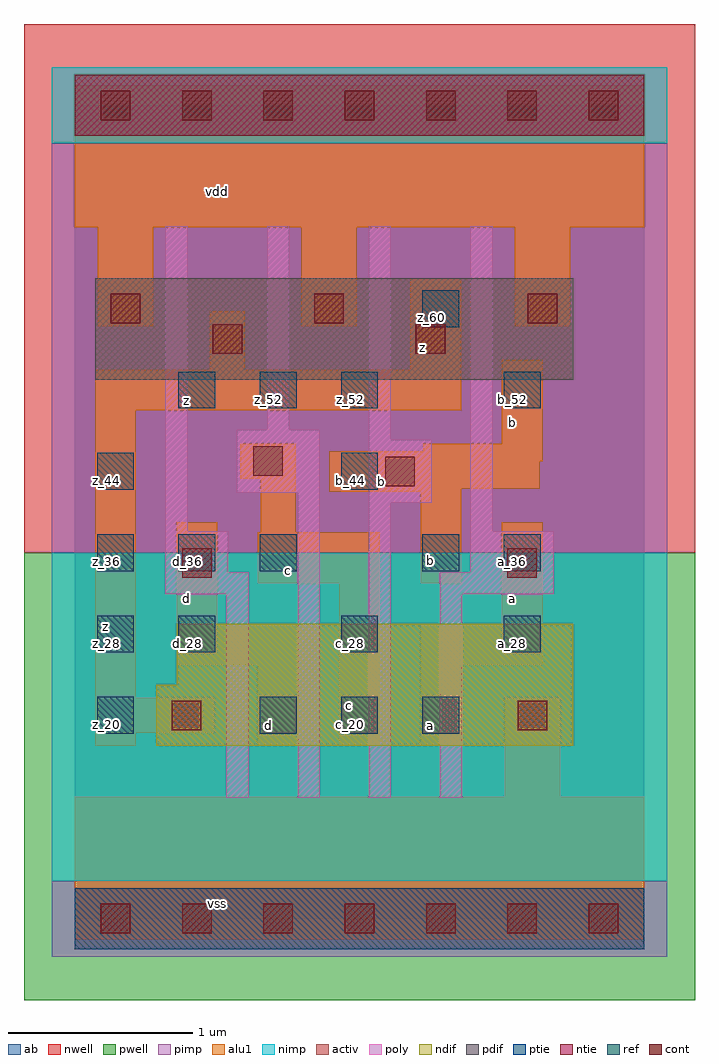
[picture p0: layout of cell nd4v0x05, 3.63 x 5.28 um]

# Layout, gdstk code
import gdstk
lib = gdstk.Library(unit=1e-6, precision=2.5e-09)
def R(c, l, rs):  # rectangles x0, y0, x1, y1
    for r in rs: c.add(gdstk.rectangle(r[:2], r[2:], *l))
def A(c, l, x, y, w, h, nx, ny, dx, dy):  # array of equal rectangles
    R(c, l, [(x+i*dx, y+j*dy, x+i*dx+w, y+j*dy+h) for i in range(nx) for j in range(ny)])
ndif = (3, 0)
pdif = (4, 0)
ntie = (5, 0)
ptie = (6, 0)
ref = (24, 0)
cont = (25, 0)
pwell = (41, 0)
nwell = (42, 0)
activ = (43, 0)
pimp = (44, 0)
nimp = (45, 0)
poly = (46, 0)
alu1 = (49, 0)
ab = (63, 0)

nd4v0x05 = lib.new_cell('nd4v0x05')
R(nd4v0x05, ndif, [(0.44,0.935,2.695,1.265), (0.55,1.265,2.695,1.595)])
R(nd4v0x05, pdif, [(0.11,2.915,2.695,3.465)])
R(nd4v0x05, ntie, [(0,4.235,3.08,4.565)])
R(nd4v0x05, ptie, [(0,-0.165,3.08,0.165)])
A(nd4v0x05, ref, 1, 1, 0.2, 0.2, 3, 1, 0.44, 0)
A(nd4v0x05, ref, 0.56, 1.44, 0.2, 0.2, 3, 1, 0.88, 0)
A(nd4v0x05, ref, 0.12, 1.88, 0.2, 0.2, 3, 1, 0.44, 0)
A(nd4v0x05, ref, 0.56, 2.76, 0.2, 0.2, 3, 1, 0.44, 0)
R(nd4v0x05, ref, [(0.12,1,0.32,1.2), (0.12,1.44,0.32,1.64), (1.88,1.88,2.08,2.08), (2.32,1.88,2.52,2.08), (0.12,2.32,0.32,2.52), (1.44,2.32,1.64,2.52), (2.32,2.76,2.52,2.96), (1.88,3.2,2.08,3.4)])
A(nd4v0x05, cont, 0.14, -0.08, 0.16, 0.16, 7, 2, 0.44, 4.4)
R(nd4v0x05, cont, [(0.525,1.02,0.685,1.18), (2.395,1.02,2.555,1.18), (0.58,1.845,0.74,2.005), (2.34,1.845,2.5,2.005), (1.68,2.34,1.84,2.5), (0.965,2.395,1.125,2.555), (0.745,3.055,0.905,3.215), (1.845,3.055,2.005,3.215), (0.195,3.22,0.355,3.38), (1.295,3.22,1.455,3.38), (2.45,3.22,2.61,3.38)])
R(nd4v0x05, pwell, [(-0.275,-0.44,3.355,1.98)])
R(nd4v0x05, nwell, [(-0.275,1.98,3.355,4.84)])
R(nd4v0x05, activ, [(0,-0.165,3.08,0.165), (0.44,0.935,2.695,1.265), (0.55,1.265,2.695,1.595), (0.11,2.915,2.695,3.465), (0,4.235,3.08,4.565)])
R(nd4v0x05, pimp, [(-0.125,-0.205,3.205,0.205), (-0.125,1.98,3.205,4.195)])
R(nd4v0x05, nimp, [(-0.125,0.205,3.205,1.98), (-0.125,4.195,3.205,4.605)])
R(nd4v0x05, poly, [(0.82,0.655,0.94,1.755), (1.205,0.655,1.325,2.305), (1.59,0.655,1.71,2.25), (1.975,0.655,2.095,1.755), (0.49,1.755,0.94,1.875), (1.975,1.755,2.59,1.875), (0.49,1.875,0.83,2.095), (2.14,1.875,2.59,2.095), (0.49,2.095,0.61,3.745), (2.14,2.095,2.26,3.745), (1.59,2.25,1.93,2.59), (0.875,2.305,1.325,2.645), (1.59,2.59,1.71,3.745), (1.04,2.645,1.16,3.745)])
R(nd4v0x05, alu1, [(0,-0.11,3.08,0.66), (2.325,0.66,2.625,1.195), (0.11,0.935,0.33,1.005), (0.99,0.935,1.21,1.375), (1.43,0.935,1.65,1.815), (1.87,0.935,2.09,1.375), (0.11,1.005,0.755,1.195), (0.11,1.195,0.33,2.75), (0.55,1.375,1.21,1.595), (1.87,1.375,2.53,1.595), (0.55,1.595,0.77,2.145), (2.31,1.595,2.53,2.145), (0.99,1.815,1.65,2.09), (1.87,1.815,2.09,2.31), (1.005,2.09,1.195,2.38), (1.375,2.31,2.09,2.325), (1.375,2.325,2.515,2.475), (0.895,2.38,1.195,2.57), (1.375,2.475,2.53,2.53), (1.885,2.53,2.53,2.57), (2.31,2.57,2.53,3.025), (0.11,2.75,2.09,2.97), (0.73,2.97,0.92,3.285), (1.815,2.97,2.09,3.465), (0.125,3.205,0.425,3.74), (1.225,3.205,1.525,3.74), (2.38,3.205,2.68,3.74), (0,3.74,3.08,4.51)])
R(nd4v0x05, ab, [(0,0,3.08,4.4)])
nd4v0x05.add(gdstk.Label('vss', (0.77,0.0825), layer=49, texttype=0))
nd4v0x05.add(gdstk.Label('a', (1.925,1.045), layer=49, texttype=0))
nd4v0x05.add(gdstk.Label('a', (2.365,1.7325), layer=49, texttype=0))
nd4v0x05.add(gdstk.Label('c', (1.485,1.155), layer=49, texttype=0))
nd4v0x05.add(gdstk.Label('d', (1.045,1.045), layer=49, texttype=0))
nd4v0x05.add(gdstk.Label('b', (1.925,1.9375), layer=49, texttype=0))
nd4v0x05.add(gdstk.Label('c', (1.155,1.8825), layer=49, texttype=0))
nd4v0x05.add(gdstk.Label('b', (1.66,2.3625), layer=49, texttype=0))
nd4v0x05.add(gdstk.Label('d', (0.605,1.7325), layer=49, texttype=0))
nd4v0x05.add(gdstk.Label('b', (2.365,2.6825), layer=49, texttype=0))
nd4v0x05.add(gdstk.Label('z', (0.165,1.5825), layer=49, texttype=0))
nd4v0x05.add(gdstk.Label('z', (0.605,2.805), layer=49, texttype=0))
nd4v0x05.add(gdstk.Label('z', (1.8825,3.0925), layer=49, texttype=0))
nd4v0x05.add(gdstk.Label('vdd', (0.77,3.9325), layer=49, texttype=0))
nd4v0x05.add(gdstk.Label('d_28', (0.61,1.49), layer=24, texttype=0))
nd4v0x05.add(gdstk.Label('d_36', (0.61,1.93), layer=24, texttype=0))
nd4v0x05.add(gdstk.Label('z_52', (0.61,2.81), layer=24, texttype=0))
nd4v0x05.add(gdstk.Label('d_20', (1.05,1.05), layer=24, texttype=0))
nd4v0x05.add(gdstk.Label('c_36', (1.05,1.93), layer=24, texttype=0))
nd4v0x05.add(gdstk.Label('z_52', (1.05,2.81), layer=24, texttype=0))
nd4v0x05.add(gdstk.Label('c_20', (1.49,1.05), layer=24, texttype=0))
nd4v0x05.add(gdstk.Label('c_28', (1.49,1.49), layer=24, texttype=0))
nd4v0x05.add(gdstk.Label('b_44', (1.49,2.37), layer=24, texttype=0))
nd4v0x05.add(gdstk.Label('z_52', (1.49,2.81), layer=24, texttype=0))
nd4v0x05.add(gdstk.Label('a_20', (1.93,1.05), layer=24, texttype=0))
nd4v0x05.add(gdstk.Label('b_36', (1.93,1.93), layer=24, texttype=0))
nd4v0x05.add(gdstk.Label('z_60', (1.93,3.25), layer=24, texttype=0))
nd4v0x05.add(gdstk.Label('z_20', (0.17,1.05), layer=24, texttype=0))
nd4v0x05.add(gdstk.Label('z_28', (0.17,1.49), layer=24, texttype=0))
nd4v0x05.add(gdstk.Label('z_36', (0.17,1.93), layer=24, texttype=0))
nd4v0x05.add(gdstk.Label('z_44', (0.17,2.37), layer=24, texttype=0))
nd4v0x05.add(gdstk.Label('a_28', (2.37,1.49), layer=24, texttype=0))
nd4v0x05.add(gdstk.Label('a_36', (2.37,1.93), layer=24, texttype=0))
nd4v0x05.add(gdstk.Label('b_52', (2.37,2.81), layer=24, texttype=0))

lib.write_gds('nd4v0x05.gds')
